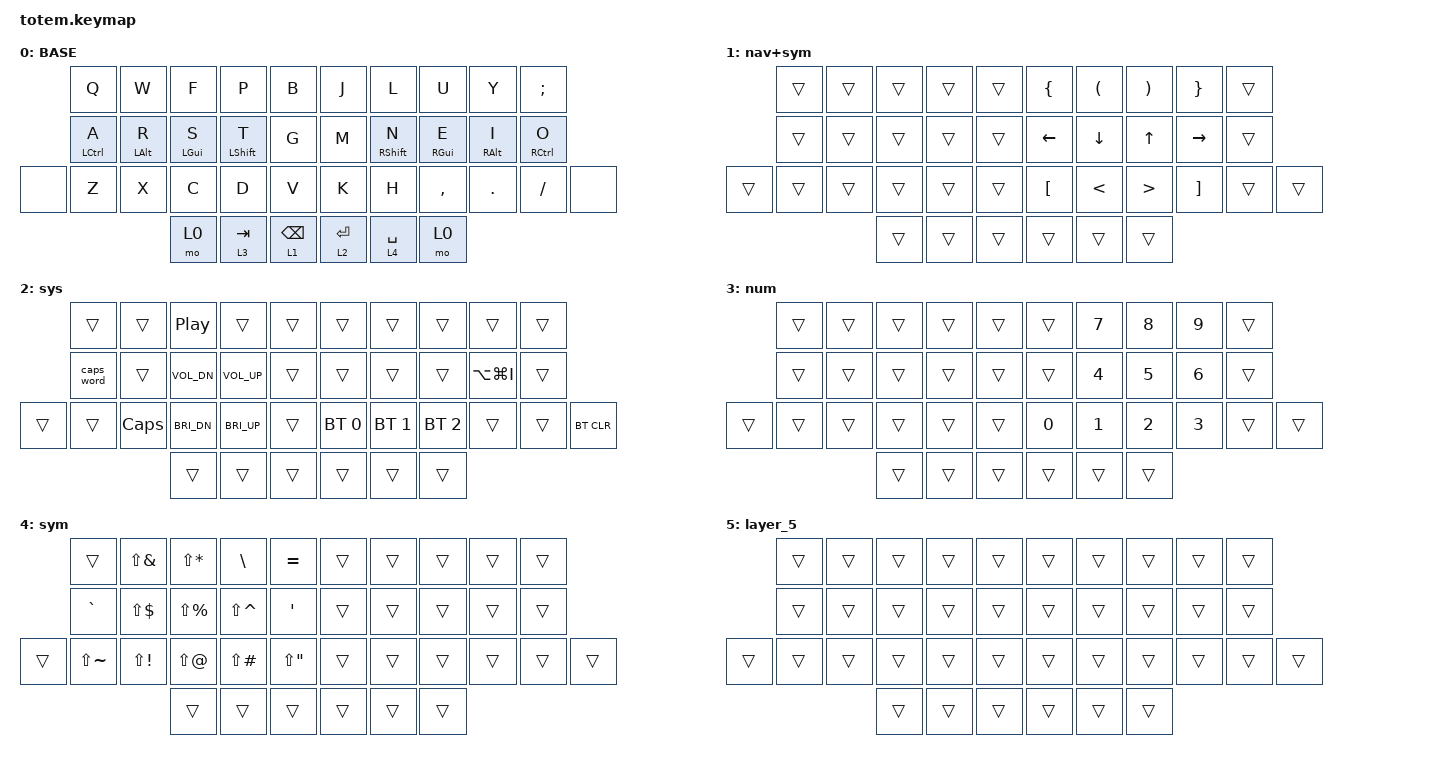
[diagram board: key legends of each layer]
//
//                                                        ▀▀▀▀▀     ▀▀▀▀▀          ▀▀█▀▀
//                                                        ▄▀▀▀▄  ▄  ▄▀▀▀▄  ▄  ▄▀▀▀▄  █  ▄▀▀▀▄
//                                                        █   █  █  █   █  █  █   █  █  █   █
//                                                         ▀▀▀   █   ▀▀▀   █   ▀▀▀   ▀   ▀▀▀
//                                                               █      ▄▄▄█▄▄▄    █   █  
//                                                               ▀      █  █  █     █▄█
//                                                             ▀▀▀▀▀    █  █  █      ▀
//                                                                      ▀  ▀  ▀
//
// ▄▄▄▄▄▄▄▄▄▄▄▄▄▄▄▄▄▄▄▄▄▄▄▄▄▄▄▄▄▄▄▄▄▄▄▄▄▄▄▄▄▄▄▄▄▄▄▄▄▄▄▄▄▄▄▄▄▄▄▄▄▄▄▄▄▄▄▄▄▄▄▄▄▄▄▄▄▄▄▄▄▄▄▄▄▄▄▄▄▄▄▄▄▄▄▄▄▄▄▄▄▄▄▄▄▄▄▄▄▄▄▄▄▄▄▄▄▄▄▄▄▄▄▄▄▄▄▄▄▄▄▄▄▄▄▄▄▄▄▄▄▄▄▄▄▄▄▄▄

#include <behaviors.dtsi>
#include <dt-bindings/zmk/bt.h>
#include <dt-bindings/zmk/keys.h>

#define BASE 0
#define NAV  1
#define SYM  2
#define ADJ  3
#define TVP1 4
#define TVP2 5

&mt {
    quick-tap-ms = <100>;
    global-quick-tap;
    flavor = "tap-preferred";
    tapping-term-ms = <150>;
};

/ {
    combos {
        compatible = "zmk,combos";

        combo_esc {
            timeout-ms = <50>;
            key-positions = <10 19>;
            bindings = <&kp ESC>;
        };

        combo_tvp {
            timeout-ms = <50>;
            key-positions = <3 6>;
            bindings = <&kp MINUS>;
        };

        underscore {
            bindings = <&kp UNDERSCORE>;
            key-positions = <2 7>;
        };

        plus {
            bindings = <&kp PLUS>;
            key-positions = <4 36>;
        };

        eq_gt {
            bindings = <&eq_gt>;
            key-positions = <28 4>;
        };

        pipe {
            bindings = <&kp PIPE>;
            key-positions = <3 36>;
        };
    };

    macros {
        eq_gt: eq_gt {
            compatible = "zmk,behavior-macro";
            #binding-cells = <0>;
            bindings = <&kp EQUAL &kp GT>;
            label = "EQ_GT";
        };
    };

    keymap {
        compatible = "zmk,keymap";

        // ▄▄▄▄▄▄▄▄▄▄▄▄▄▄▄▄▄▄▄▄▄▄▄▄▄▄▄▄▄▄▄▄▄▄▄▄▄▄▄▄▄▄▄▄▄▄▄▄▄▄▄▄▄▄▄▄▄▄▄▄▄▄▄▄▄▄▄▄▄▄▄▄▄▄▄▄▄▄▄▄▄▄▄▄▄▄▄▄▄▄▄▄▄▄▄▄▄▄▄▄▄▄▄▄▄▄▄▄▄▄▄▄▄▄▄▄▄▄▄▄▄▄▄▄▄▄▄▄▄▄▄▄▄▄▄▄▄▄▄▄▄▄▄▄▄▄▄▄▄

        base_layer {
            // ┏━━━━━━━━━━━━━━━━━━━━━━━━━━━━━━━━━━━━━━━┓

            label = "BASE";

            // ┗━━━━━━━━━━━━━━━━━━━━━━━━━━━━━━━━━━━━━━━┛
            //             ┏━━━━━━━━━━━┳━━━━━━━━━━━┳━━━━━━━━━━━┳━━━━━━━━━━━┳━━━━━━━━━━━┓   ┏━━━━━━━━━━━┳━━━━━━━━━━━┳━━━━━━━━━━━┳━━━━━━━━━━━┳━━━━━━━━━━━┓
            //             ┃     Q     ┃     W     ┃     F     ┃     P     ┃     G     ┃   ┃     J     ┃     L     ┃     U     ┃     Y     ┃     ;     ┃
            //             ┣━━━━━━━━━━━╋━━━━━━━━━━━╋━━━━━━━━━━━╋━━━━━━━━━━━╋━━━━━━━━━━━┫   ┣━━━━━━━━━━━╋━━━━━━━━━━━╋━━━━━━━━━━━╋━━━━━━━━━━━╋━━━━━━━━━━━┫
            //             ┃     A     ┃     R     ┃     S     ┃     T     ┃     D     ┃   ┃     H     ┃     N     ┃     E     ┃     I     ┃     O     ┃
            // ┏━━━━━━━━━━━╋━━━━━━━━━━━╋━━━━━━━━━━━╋━━━━━━━━━━━╋━━━━━━━━━━━╋━━━━━━━━━━━┫   ┣━━━━━━━━━━━╋━━━━━━━━━━━╋━━━━━━━━━━━╋━━━━━━━━━━━╋━━━━━━━━━━━╋━━━━━━━━━━━┓
            // ┃     Q     ┃     Z     ┃     X     ┃     C     ┃     V     ┃     B     ┃   ┃     K     ┃     M     ┃     ,     ┃     .     ┃     /     ┃     \     ┃
            // ┗━━━━━━━━━━━┻━━━━━━━━━━━┻━━━━━━━━━━━╋━━━━━━━━━━━╋━━━━━━━━━━━╋━━━━━━━━━━━┫   ┣━━━━━━━━━━━╋━━━━━━━━━━━╋━━━━━━━━━━━╋━━━━━━━━━━━┻━━━━━━━━━━━┻━━━━━━━━━━━┛
            //                                     ┃    DEL    ┃    TAB    ┃    SPC    ┃   ┃   ENTER   ┃           ┃   BSPC    ┃
            //                                     ┗━━━━━━━━━━━┻━━━━━━━━━━━┻━━━━━━━━━━━┛   ┗━━━━━━━━━━━┻━━━━━━━━━━━┻━━━━━━━━━━━┛

            bindings = <
       &kp Q        &kp W       &kp F       &kp P        &kp B              &kp J        &kp L        &kp U       &kp Y       &kp SEMI
       &mt LCTRL A  &mt LALT R  &mt LGUI S  &mt LSHFT T  &kp G              &kp M        &mt RSHFT N  &mt RGUI E  &mt RALT I  &mt RCTRL O
&none  &kp Z        &kp X       &kp C       &kp D        &kp V              &kp K        &kp H        &kp COMMA   &kp DOT     &kp FSLH     &none
                                &mo 0       &lt 3 TAB    &lt 1 BACKSPACE    &lt 2 ENTER  &lt 4 SPACE  &mo 0
            >;
        };

        // ▄▄▄▄▄▄▄▄▄▄▄▄▄▄▄▄▄▄▄▄▄▄▄▄▄▄▄▄▄▄▄▄▄▄▄▄▄▄▄▄▄▄▄▄▄▄▄▄▄▄▄▄▄▄▄▄▄▄▄▄▄▄▄▄▄▄▄▄▄▄▄▄▄▄▄▄▄▄▄▄▄▄▄▄▄▄▄▄▄▄▄▄▄▄▄▄▄▄▄▄▄▄▄▄▄▄▄▄▄▄▄▄▄▄▄▄▄▄▄▄▄▄▄▄▄▄▄▄▄▄▄▄▄▄▄▄▄▄▄▄▄▄▄▄▄▄▄▄▄
        // ▄▄▄▄▄▄▄▄▄▄▄▄▄▄▄▄▄▄▄▄▄▄▄▄▄▄▄▄▄▄▄▄▄▄▄▄▄▄▄▄▄▄▄▄▄▄▄▄▄▄▄▄▄▄▄▄▄▄▄▄▄▄▄▄▄▄▄▄▄▄▄▄▄▄▄▄▄▄▄▄▄▄▄▄▄▄▄▄▄▄▄▄▄▄▄▄▄▄▄▄▄▄▄▄▄▄▄▄▄▄▄▄▄▄▄▄▄▄▄▄▄▄▄▄▄▄▄▄▄▄▄▄▄▄▄▄▄▄▄▄▄▄▄▄▄▄▄▄▄
        // ▄▄▄▄▄▄▄▄▄▄▄▄▄▄▄▄▄▄▄▄▄▄▄▄▄▄▄▄▄▄▄▄▄▄▄▄▄▄▄▄▄▄▄▄▄▄▄▄▄▄▄▄▄▄▄▄▄▄▄▄▄▄▄▄▄▄▄▄▄▄▄▄▄▄▄▄▄▄▄▄▄▄▄▄▄▄▄▄▄▄▄▄▄▄▄▄▄▄▄▄▄▄▄▄▄▄▄▄▄▄▄▄▄▄▄▄▄▄▄▄▄▄▄▄▄▄▄▄▄▄▄▄▄▄▄▄▄▄▄▄▄▄▄▄▄▄▄▄▄
        // ▄▄▄▄▄▄▄▄▄▄▄▄▄▄▄▄▄▄▄▄▄▄▄▄▄▄▄▄▄▄▄▄▄▄▄▄▄▄▄▄▄▄▄▄▄▄▄▄▄▄▄▄▄▄▄▄▄▄▄▄▄▄▄▄▄▄▄▄▄▄▄▄▄▄▄▄▄▄▄▄▄▄▄▄▄▄▄▄▄▄▄▄▄▄▄▄▄▄▄▄▄▄▄▄▄▄▄▄▄▄▄▄▄▄▄▄▄▄▄▄▄▄▄▄▄▄▄▄▄▄▄▄▄▄▄▄▄▄▄▄▄▄▄▄▄▄▄▄▄
        // ▄▄▄▄▄▄▄▄▄▄▄▄▄▄▄▄▄▄▄▄▄▄▄▄▄▄▄▄▄▄▄▄▄▄▄▄▄▄▄▄▄▄▄▄▄▄▄▄▄▄▄▄▄▄▄▄▄▄▄▄▄▄▄▄▄▄▄▄▄▄▄▄▄▄▄▄▄▄▄▄▄▄▄▄▄▄▄▄▄▄▄▄▄▄▄▄▄▄▄▄▄▄▄▄▄▄▄▄▄▄▄▄▄▄▄▄▄▄▄▄▄▄▄▄▄▄▄▄▄▄▄▄▄▄▄▄▄▄▄▄▄▄▄▄▄▄▄▄▄

        nav+sym {
            bindings = <
        &trans  &trans  &trans  &trans  &trans    &kp LEFT_BRACE    &kp LEFT_PARENTHESIS  &kp RIGHT_PARENTHESIS  &kp RIGHT_BRACE    &trans
        &trans  &trans  &trans  &trans  &trans    &kp LEFT          &kp DOWN              &kp UP_ARROW           &kp RIGHT          &trans
&trans  &trans  &trans  &trans  &trans  &trans    &kp LEFT_BRACKET  &kp LESS_THAN         &kp GREATER_THAN       &kp RIGHT_BRACKET  &trans  &trans
                        &trans  &trans  &trans    &trans            &trans                &trans
            >;
        };

        sys {
            bindings = <
        &trans      &trans        &kp C_PLAY_PAUSE  &trans        &trans    &trans        &trans        &trans        &trans         &trans
        &caps_word  &trans        &kp C_VOL_DN      &kp C_VOL_UP  &trans    &trans        &trans        &trans        &kp LA(LG(I))  &trans
&trans  &trans      &kp CAPSLOCK  &kp C_BRI_DN      &kp C_BRI_UP  &trans    &bt BT_SEL 0  &bt BT_SEL 1  &bt BT_SEL 2  &trans         &trans  &bt BT_CLR
                                  &trans            &trans        &trans    &trans        &trans        &trans
            >;
        };

        num {
            bindings = <
        &trans  &trans  &trans  &trans  &trans    &trans  &kp N7  &kp N8  &kp N9  &trans
        &trans  &trans  &trans  &trans  &trans    &trans  &kp N4  &kp N5  &kp N6  &trans
&trans  &trans  &trans  &trans  &trans  &trans    &kp N0  &kp N1  &kp N2  &kp N3  &trans  &trans
                        &trans  &trans  &trans    &trans  &trans  &trans
            >;
        };

        sym {
            bindings = <
        &trans         &kp LS(AMPS)  &kp LS(STAR)   &kp BSLH       &kp EQUAL      &trans  &trans  &trans  &trans  &trans
        &kp GRAVE      &kp LS(DLLR)  &kp LS(PRCNT)  &kp LS(CARET)  &kp SQT        &trans  &trans  &trans  &trans  &trans
&trans  &kp LS(TILDE)  &kp LS(EXCL)  &kp LS(AT)     &kp LS(POUND)  &kp LS(DQT)    &trans  &trans  &trans  &trans  &trans  &trans
                                     &trans         &trans         &trans         &trans  &trans  &trans
            >;
        };

        layer_5 {
            bindings = <
        &trans  &trans  &trans  &trans  &trans    &trans  &trans  &trans  &trans  &trans
        &trans  &trans  &trans  &trans  &trans    &trans  &trans  &trans  &trans  &trans
&trans  &trans  &trans  &trans  &trans  &trans    &trans  &trans  &trans  &trans  &trans  &trans
                        &trans  &trans  &trans    &trans  &trans  &trans
            >;
        };
    };
};
